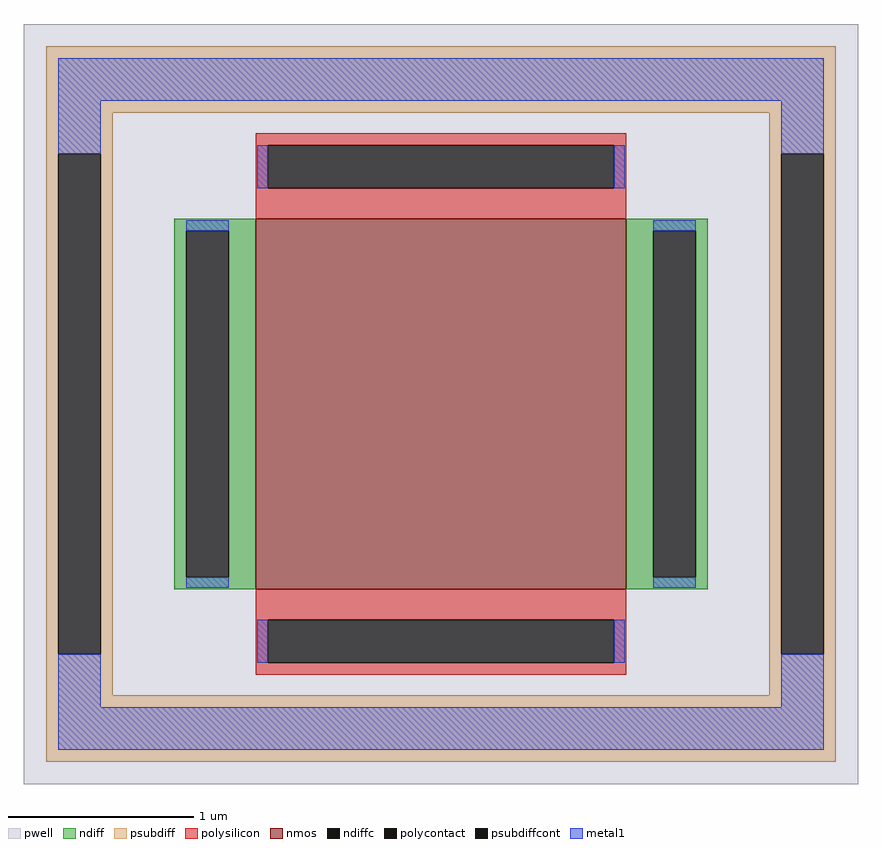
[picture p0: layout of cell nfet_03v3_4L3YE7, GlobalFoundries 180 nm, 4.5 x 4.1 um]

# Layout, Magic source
magic
tech gf180mcuD
magscale 1 10
<< pwell >>
rect -450 -410 450 410
<< nmos >>
rect -200 -200 200 200
<< ndiff >>
rect -288 187 -200 200
rect -288 -187 -275 187
rect -229 -187 -200 187
rect -288 -200 -200 -187
rect 200 187 288 200
rect 200 -187 229 187
rect 275 -187 288 187
rect 200 -200 288 -187
<< ndiffc >>
rect -275 -187 -229 187
rect 229 -187 275 187
<< psubdiff >>
rect -426 314 426 386
rect -426 270 -354 314
rect -426 -270 -413 270
rect -367 -270 -354 270
rect 354 270 426 314
rect -426 -314 -354 -270
rect 354 -270 367 270
rect 413 -270 426 270
rect 354 -314 426 -270
rect -426 -386 426 -314
<< psubdiffcont >>
rect -413 -270 -367 270
rect 367 -270 413 270
<< polysilicon >>
rect -200 279 200 292
rect -200 233 -187 279
rect 187 233 200 279
rect -200 200 200 233
rect -200 -233 200 -200
rect -200 -279 -187 -233
rect 187 -279 200 -233
rect -200 -292 200 -279
<< polycontact >>
rect -187 233 187 279
rect -187 -279 187 -233
<< metal1 >>
rect -413 327 413 373
rect -413 270 -367 327
rect -198 233 -187 279
rect 187 233 198 279
rect 367 270 413 327
rect -275 187 -229 198
rect -275 -198 -229 -187
rect 229 187 275 198
rect 229 -198 275 -187
rect -413 -327 -367 -270
rect -198 -279 -187 -233
rect 187 -279 198 -233
rect 367 -327 413 -270
rect -413 -373 413 -327
<< properties >>
string FIXED_BBOX -390 -350 390 350
string gencell nfet_03v3
string library gf180mcu
string parameters w 2.0 l 2.0 m 1 nf 1 diffcov 100 polycov 100 guard 1 glc 1 grc 1 gtc 0 gbc 0 tbcov 100 rlcov 100 topc 1 botc 1 poverlap 0 doverlap 1 lmin 0.28 wmin 0.22 class mosfet full_metal 1 compatible {nfet_03v3 nfet_06v0 nfet_06v0_nvt} ad {int((nf+1)/2) * W/nf * 0.18u} as {int((nf+2)/2) * W/nf * 0.18u} pd {2*int((nf+1)/2) * (W/nf + 0.18u)} ps {2*int((nf+2)/2) * (W/nf + 0.18u)} nrd {0.18u / W} nrs {0.18u / W} sa 0 sb 0 sd 0
<< end >>
